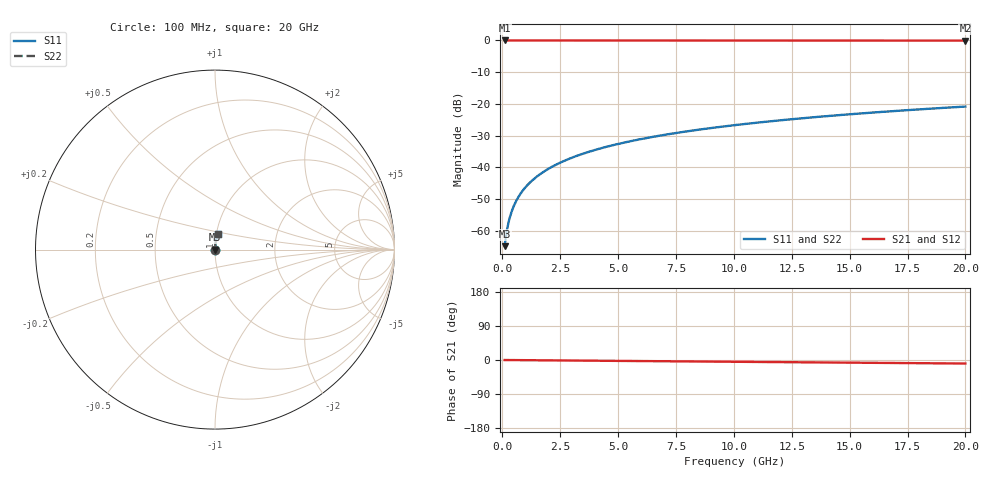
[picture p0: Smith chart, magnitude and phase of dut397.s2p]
! Touchstone file exported from HFSS 2026.1.0
!  File:  C:/ffzhzh/LocalFiles/Ansys_Project_Files/temp_train_TSV_397_1783020227_55676.aedt
!  Generated:  03:25:40 AM Jul  3, 2026
!  Design:  TSV
!  Project:  temp_train_TSV_397_1783020227_55676
! Variables:
!  h_bsmrdl = 2um
!  h_ox = 20um
!  h_rdl = 5um
!  h_sub = 69.77um
!  h_tmrdl = 5um
!  h_tsv = 69.77um
!  h_via = 3um
!  l_bsmrdl = 300um
!  l_sub = 411.3um
!  l_tmrdl = 200um
!  m_sub = 200um
!  pitch = 57.88um
!  r_tsv = 5.65um
!  s_tmrdl = 10um
!  w_bsmrdl = 18um
!  w_sub = 500um
!  w_tmrdl = 12um
!  x_tsv_center1 = 206um
!  x_tsv_center2 = 524um
!  x_tsv_center3 = 736um
!  x_tsv_center4 = 1054um
!  x_tsv_center5 = 1266um
!  x_tsv_center6 = 1584um
# GHz S MA R 50.000000
! Terminal data exported
! Port[1] = TSV1_1_T1
! Port[2] = TSV1_1_T2
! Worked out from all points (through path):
!   200 points, 100 MHz to 20 GHz, reference 50 ohm
!   highest |S21| = 0.00 dB at 100 MHz (marker M1); lowest = -0.1 dB at 20 GHz (marker M2)
!   group delay of S21, straight-line fit = 1.29 ps
!   lowest |S11| = -64.9 dB at 100 MHz (marker M3), VSWR 1.00, Z = 50 + j0.0494 ohm
!   |S11| at or under -10 dB: start of sweep to end of sweep
!   |S22| runs from -64.9 to -20.9 dB; largest |S21 - S12| = 3.5e-15
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0.1  0.0005693 60.2  0.9997 -0.0  0.9997 -0.0  0.0005693 60.2
! Gamma 0 0 0 0
! Port Impedance 50 0 50 0
0.2  0.001029 73.5  0.9997 -0.1  0.9997 -0.1  0.001029 73.5
0.3  0.001507 78.3  0.9997 -0.1  0.9997 -0.1  0.001507 78.3
0.4  0.001988 80.6  0.9997 -0.2  0.9997 -0.2  0.001988 80.6
0.5  0.002467 82.0  0.9997 -0.2  0.9997 -0.2  0.002467 82.0
0.6  0.002943 82.8  0.9996 -0.3  0.9996 -0.3  0.002943 82.8
0.7  0.003418 83.5  0.9996 -0.3  0.9996 -0.3  0.003418 83.5
0.8  0.00389 83.9  0.9996 -0.4  0.9996 -0.4  0.00389 83.9
1  0.004829 84.6  0.9996 -0.5  0.9996 -0.5  0.004829 84.6
1.4  0.006699 85.3  0.9995 -0.7  0.9995 -0.7  0.006699 85.3
1.7  0.008097 85.6  0.9995 -0.8  0.9995 -0.8  0.008097 85.6
2  0.009492 85.8  0.9994 -1.0  0.9994 -1.0  0.009492 85.8
2.7  0.01274 86.0  0.9993 -1.3  0.9993 -1.3  0.01274 86.0
3.5  0.01643 85.9  0.9992 -1.7  0.9992 -1.7  0.01643 85.9
4.2  0.01965 85.8  0.999 -2.0  0.999 -2.0  0.01965 85.8
5  0.02332 85.6  0.9989 -2.4  0.9989 -2.4  0.02332 85.6
6.8  0.03151 85.0  0.9985 -3.2  0.9985 -3.2  0.03151 85.0
8.3  0.03832 84.5  0.9982 -3.9  0.9982 -3.9  0.03832 84.5
10.1  0.04645 83.8  0.9977 -4.7  0.9977 -4.7  0.04645 83.8
13.4  0.0613 82.5  0.9967 -6.3  0.9967 -6.3  0.0613 82.5
16.7  0.07605 81.1  0.9956 -7.8  0.9956 -7.8  0.07605 81.1
20  0.09065 79.6  0.9942 -9.3  0.9942 -9.3  0.09065 79.6
